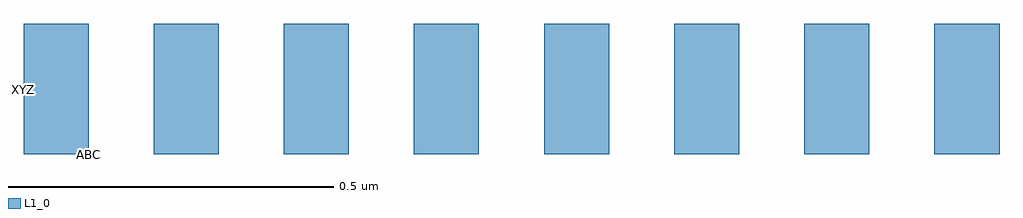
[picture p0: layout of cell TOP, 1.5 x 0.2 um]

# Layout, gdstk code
import gdstk
lib = gdstk.Library(unit=1e-6, precision=1e-09)
def R(c, l, rs):  # rectangles x0, y0, x1, y1
    for r in rs: c.add(gdstk.rectangle(r[:2], r[2:], *l))
def A(c, l, x, y, w, h, nx, ny, dx, dy):  # array of equal rectangles
    R(c, l, [(x+i*dx, y+j*dy, x+i*dx+w, y+j*dy+h) for i in range(nx) for j in range(ny)])
L1_0 = (1, 0)
L2_0 = (2, 0)

top = lib.new_cell('TOP')
A(top, L1_0, 0, 0, 0.1, 0.2, 8, 1, 0.2, 0)
top.add(gdstk.FlexPath([(0,0),(0,0.2)], 0, ends="flush", simple_path=True, layer=2, datatype=0))  # L2_0
top.add(gdstk.FlexPath([(0,0.2),(0.1,0.2)], 0, ends="flush", simple_path=True, layer=2, datatype=0))  # L2_0
top.add(gdstk.FlexPath([(0.1,0.2),(0.1,0)], 0, ends="flush", simple_path=True, layer=2, datatype=0))  # L2_0
top.add(gdstk.FlexPath([(0.1,0),(0,0)], 0, ends="flush", simple_path=True, layer=2, datatype=0))  # L2_0
top.add(gdstk.FlexPath([(0.2,0),(0.2,0.2)], 0, ends="flush", simple_path=True, layer=2, datatype=0))  # L2_0
top.add(gdstk.FlexPath([(0.2,0.2),(0.3,0.2)], 0, ends="flush", simple_path=True, layer=2, datatype=0))  # L2_0
top.add(gdstk.FlexPath([(0.3,0.2),(0.3,0)], 0, ends="flush", simple_path=True, layer=2, datatype=0))  # L2_0
top.add(gdstk.FlexPath([(0.3,0),(0.2,0)], 0, ends="flush", simple_path=True, layer=2, datatype=0))  # L2_0
top.add(gdstk.FlexPath([(0.4,0),(0.4,0.2)], 0, ends="flush", simple_path=True, layer=2, datatype=0))  # L2_0
top.add(gdstk.FlexPath([(0.4,0.2),(0.5,0.2)], 0, ends="flush", simple_path=True, layer=2, datatype=0))  # L2_0
top.add(gdstk.FlexPath([(0.5,0.2),(0.5,0)], 0, ends="flush", simple_path=True, layer=2, datatype=0))  # L2_0
top.add(gdstk.FlexPath([(0.5,0),(0.4,0)], 0, ends="flush", simple_path=True, layer=2, datatype=0))  # L2_0
top.add(gdstk.FlexPath([(0.6,0),(0.6,0.2)], 0, ends="flush", simple_path=True, layer=2, datatype=0))  # L2_0
top.add(gdstk.FlexPath([(0.6,0.2),(0.7,0.2)], 0, ends="flush", simple_path=True, layer=2, datatype=0))  # L2_0
top.add(gdstk.FlexPath([(0.7,0.2),(0.7,0)], 0, ends="flush", simple_path=True, layer=2, datatype=0))  # L2_0
top.add(gdstk.FlexPath([(0.7,0),(0.6,0)], 0, ends="flush", simple_path=True, layer=2, datatype=0))  # L2_0
top.add(gdstk.FlexPath([(0.8,0),(0.8,0.2)], 0, ends="flush", simple_path=True, layer=2, datatype=0))  # L2_0
top.add(gdstk.FlexPath([(0.8,0.2),(0.9,0.2)], 0, ends="flush", simple_path=True, layer=2, datatype=0))  # L2_0
top.add(gdstk.FlexPath([(0.9,0.2),(0.9,0)], 0, ends="flush", simple_path=True, layer=2, datatype=0))  # L2_0
top.add(gdstk.FlexPath([(0.9,0),(0.8,0)], 0, ends="flush", simple_path=True, layer=2, datatype=0))  # L2_0
top.add(gdstk.FlexPath([(1,0),(1,0.2)], 0, ends="flush", simple_path=True, layer=2, datatype=0))  # L2_0
top.add(gdstk.FlexPath([(1,0.2),(1.1,0.2)], 0, ends="flush", simple_path=True, layer=2, datatype=0))  # L2_0
top.add(gdstk.FlexPath([(1.1,0.2),(1.1,0)], 0, ends="flush", simple_path=True, layer=2, datatype=0))  # L2_0
top.add(gdstk.FlexPath([(1.1,0),(1,0)], 0, ends="flush", simple_path=True, layer=2, datatype=0))  # L2_0
top.add(gdstk.FlexPath([(1.2,0),(1.2,0.2)], 0, ends="flush", simple_path=True, layer=2, datatype=0))  # L2_0
top.add(gdstk.FlexPath([(1.2,0.2),(1.3,0.2)], 0, ends="flush", simple_path=True, layer=2, datatype=0))  # L2_0
top.add(gdstk.FlexPath([(1.3,0.2),(1.3,0)], 0, ends="flush", simple_path=True, layer=2, datatype=0))  # L2_0
top.add(gdstk.FlexPath([(1.3,0),(1.2,0)], 0, ends="flush", simple_path=True, layer=2, datatype=0))  # L2_0
top.add(gdstk.FlexPath([(1.4,0),(1.4,0.2)], 0, ends="flush", simple_path=True, layer=2, datatype=0))  # L2_0
top.add(gdstk.FlexPath([(1.4,0.2),(1.5,0.2)], 0, ends="flush", simple_path=True, layer=2, datatype=0))  # L2_0
top.add(gdstk.FlexPath([(1.5,0.2),(1.5,0)], 0, ends="flush", simple_path=True, layer=2, datatype=0))  # L2_0
top.add(gdstk.FlexPath([(1.5,0),(1.4,0)], 0, ends="flush", simple_path=True, layer=2, datatype=0))  # L2_0
top.add(gdstk.FlexPath([(0,0),(0.1,0.1)], 0, ends="flush", simple_path=True, layer=2, datatype=0))  # L2_0
top.add(gdstk.FlexPath([(0,0.1),(0.1,0.2)], 0, ends="flush", simple_path=True, layer=2, datatype=0))  # L2_0
top.add(gdstk.Label('ABC', (0.1,0), layer=3, texttype=0))
top.add(gdstk.Label('XYZ', (0,0.1), layer=3, texttype=0))

lib.write_gds('TOP.gds')
